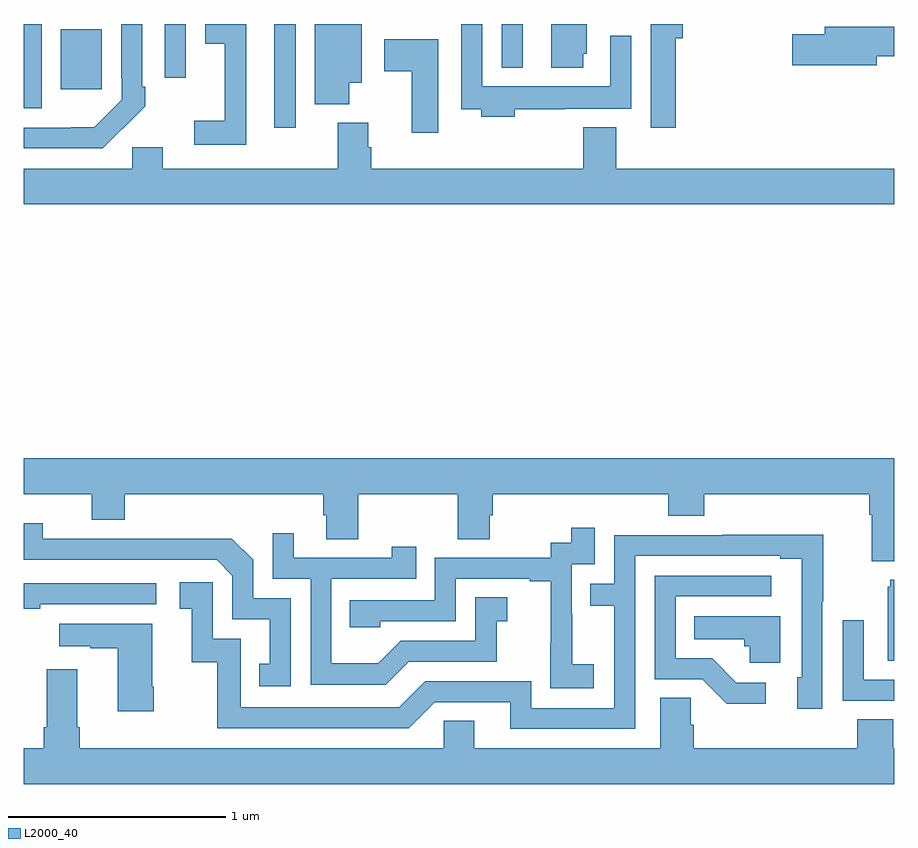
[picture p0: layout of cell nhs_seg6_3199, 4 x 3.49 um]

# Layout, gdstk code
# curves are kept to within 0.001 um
import gdstk
lib = gdstk.Library(unit=1e-6, precision=1e-09)
def R(c, l, rs):  # rectangles x0, y0, x1, y1
    for r in rs: c.add(gdstk.rectangle(r[:2], r[2:], *l))
def P(c, l, *ps):  # polygons
    for p in ps: c.add(gdstk.Polygon(p, *l))
L2000_40 = (2000, 40)

nhs_seg6_3199 = lib.new_cell('nhs_seg6_3199')
R(nhs_seg6_3199, L2000_40, [(300.152,945.024,300.249,945.5), (299,945.114,299.082,945.5), (299.171,945.201,299.359,945.475), (299.649,945.252,299.745,945.5), (301.197,945.299,301.294,945.5)])
P(nhs_seg6_3199, L2000_40, [(300.022,945.5),(299.834,945.5),(299.834,945.41),(299.924,945.41),(299.924,945.055),(299.784,945.055),(299.784,944.946),(300.022,944.946)],
  [(300.496,945.23),(300.553,945.23),(300.553,945.5),(300.338,945.5),(300.338,945.131),(300.496,945.131)],
  [(301.256,945.108),(301.487,945.108),(301.487,945.11),(301.791,945.11),(301.791,945.445),(301.695,945.445),(301.695,945.214),(301.107,945.214),(301.107,945.5),(301.011,945.5),(301.011,945.108),(301.103,945.108),(301.103,945.074),(301.256,945.074)],
  [(299.453,945.019),(299.454,945.018),(299.559,945.123),(299.559,945.211),(299.544,945.211),(299.544,945.5),(299.448,945.5),(299.448,945.253),(299.451,945.253),(299.451,945.153),(299.323,945.025),(299,945.024),(299,944.928),(299.362,944.928)],
  [(301.997,945.434),(302.027,945.434),(302.027,945.5),(301.881,945.5),(301.881,945.024),(301.997,945.024)],
  [(301.57,945.363),(301.588,945.363),(301.588,945.5),(301.424,945.5),(301.424,945.3),(301.57,945.3)],
  [(302.92,945.352),(303,945.352),(303,945.488),(302.681,945.488),(302.681,945.452),(302.532,945.452),(302.532,945.31),(302.92,945.31)],
  [(300.904,945.43),(300.657,945.43),(300.657,945.283),(300.782,945.283),(300.782,945),(300.904,945)],
  [(300.583,944.934),(300.583,945.046),(300.443,945.046),(300.443,944.836),(299.638,944.836),(299.638,944.934),(299.499,944.934),(299.499,944.836),(299,944.836),(299,944.672),(303,944.672),(303,944.836),(301.723,944.836),(301.723,945.025),(301.571,945.025),(301.571,944.836),(300.596,944.836),(300.596,944.934)],
  [(303,943.504),(299,943.504),(299,943.34),(299.312,943.34),(299.312,943.223),(299.465,943.223),(299.465,943.34),(300.377,943.34),(300.377,943.242),(300.389,943.242),(300.389,943.132),(300.537,943.132),(300.537,943.34),(300.994,943.34),(300.994,943.132),(301.141,943.132),(301.141,943.242),(301.154,943.242),(301.154,943.34),(301.961,943.34),(301.961,943.241),(302.126,943.241),(302.126,943.34),(302.885,943.34),(302.885,943.244),(302.897,943.244),(302.897,943.031),(303,943.031)],
  [(300.228,942.861),(300.054,942.861),(300.054,943.038),(299.956,943.136),(299.548,943.136),(299.548,943.134),(299.088,943.134),(299.088,943.207),(299,943.207),(299,943.038),(299.886,943.038),(299.958,942.966),(299.958,942.765),(300.131,942.765),(300.131,942.561),(300.082,942.561),(300.082,942.456),(300.228,942.456)],
  [(301.618,942.559),(301.52,942.559),(301.52,942.788),(301.518,942.788),(301.518,943.017),(301.623,943.017),(301.623,943.186),(301.515,943.186),(301.515,943.116),(301.422,943.116),(301.422,943.047),(300.888,943.047),(300.888,942.852),(300.499,942.852),(300.499,942.729),(300.639,942.729),(300.639,942.756),(300.984,942.756),(300.984,942.951),(301.325,942.951),(301.325,942.939),(301.421,942.939),(301.421,942.655),(301.42,942.655),(301.42,942.449),(301.618,942.449)],
  [(300.769,942.57),(301.173,942.57),(301.173,942.755),(301.222,942.755),(301.222,942.865),(301.074,942.865),(301.074,942.666),(300.732,942.666),(300.628,942.562),(300.414,942.562),(300.414,942.951),(300.803,942.951),(300.803,943.099),(300.692,943.099),(300.692,943.047),(300.241,943.047),(300.241,943.159),(300.144,943.159),(300.144,942.951),(300.318,942.951),(300.318,942.465),(300.664,942.465)],
  [(301.809,943.056),(302.477,943.056),(302.477,943.044),(302.574,943.044),(302.574,942.498),(302.555,942.498),(302.555,942.354),(302.67,942.354),(302.67,942.847),(302.673,942.847),(302.673,943.154),(302.209,943.154),(302.209,943.152),(301.713,943.152),(301.713,942.927),(301.603,942.927),(301.603,942.826),(301.713,942.826),(301.713,942.357),(301.332,942.357),(301.332,942.48),(300.846,942.48),(300.726,942.36),(299.997,942.36),(299.997,942.675),(299.868,942.675),(299.868,942.934),(299.718,942.934),(299.718,942.813),(299.771,942.813),(299.771,942.567),(299.889,942.567),(299.889,942.264),(300.768,942.264),(300.888,942.384),(301.235,942.384),(301.235,942.261),(301.809,942.261)],
  [(302.41,942.474),(302.275,942.474),(302.164,942.585),(301.995,942.585),(301.995,942.87),(302.434,942.87),(302.434,942.966),(301.899,942.966),(301.899,942.489),(302.118,942.489),(302.231,942.377),(302.41,942.377)],
  [(303,942.946),(302.981,942.946),(302.981,942.915),(302.969,942.915),(302.969,942.575),(303,942.575)],
  [(299.075,942.834),(299.608,942.834),(299.608,942.93),(299,942.93),(299,942.814),(299.075,942.814)],
  [(302.476,942.778),(302.08,942.778),(302.08,942.674),(302.311,942.674),(302.311,942.642),(302.337,942.642),(302.337,942.566),(302.476,942.566)],
  [(303,942.486),(302.859,942.486),(302.859,942.76),(302.763,942.76),(302.763,942.39),(303,942.39)],
  [(299.598,942.454),(299.59,942.454),(299.59,942.745),(299.163,942.745),(299.163,942.641),(299.306,942.641),(299.306,942.631),(299.432,942.631),(299.432,942.342),(299.598,942.342)],
  [(303,942.172),(302.996,942.172),(302.996,942.305),(302.831,942.305),(302.831,942.172),(302.078,942.172),(302.078,942.281),(302.064,942.281),(302.064,942.404),(301.925,942.404),(301.925,942.172),(301.069,942.172),(301.069,942.299),(300.93,942.299),(300.93,942.172),(299.258,942.172),(299.258,942.268),(299.245,942.268),(299.245,942.535),(299.105,942.535),(299.105,942.268),(299.093,942.268),(299.093,942.172),(299,942.172),(299,942.008),(303,942.008)])

lib.write_gds('nhs_seg6_3199.gds')
